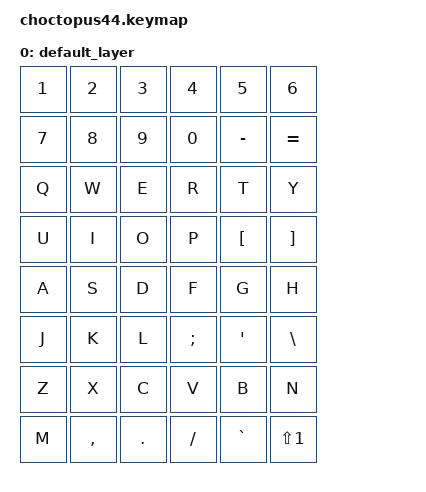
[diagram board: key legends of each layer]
/*
 * DIAGNOSTIC KEYMAP — one unique character per raw matrix position.
 * Decoder (char -> row,col):
 *   row0: 1 2 3 4 5 6      row1: 7 8 9 0 - =
 *   row2: q w e r t y      row3: u i o p [ ]
 *   row4: a s d f g h      row5: j k l ; ' \
 *   row6: z x c v b n      row7: m , . / ` !
 */

#include <behaviors.dtsi>
#include <dt-bindings/zmk/keys.h>

/ {
  keymap {
    compatible = "zmk,keymap";

    default_layer {
      bindings = <
        &kp N1   &kp N2     &kp N3   &kp N4    &kp N5     &kp N6
        &kp N7   &kp N8     &kp N9   &kp N0    &kp MINUS  &kp EQUAL
        &kp Q    &kp W      &kp E    &kp R     &kp T      &kp Y
        &kp U    &kp I      &kp O    &kp P     &kp LBKT   &kp RBKT
        &kp A    &kp S      &kp D    &kp F     &kp G      &kp H
        &kp J    &kp K      &kp L    &kp SEMI  &kp SQT    &kp BSLH
        &kp Z    &kp X      &kp C    &kp V     &kp B      &kp N
        &kp M    &kp COMMA  &kp DOT  &kp FSLH  &kp GRAVE  &kp LS(N1)
      >;
    };
  };
};
